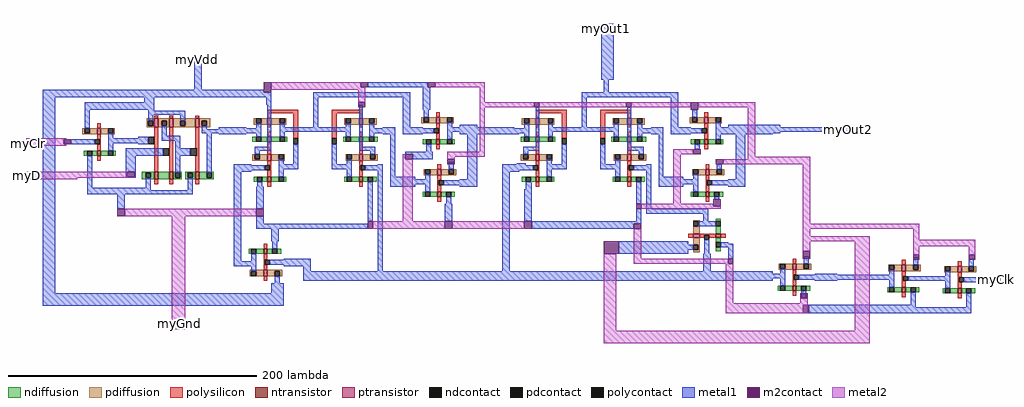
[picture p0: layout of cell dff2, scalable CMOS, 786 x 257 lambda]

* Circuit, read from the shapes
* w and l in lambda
.subckt dff2 myClk myClr myD myGnd myOut1 myOut2 myVdd
M1 n1 myClr myGnd VSUBS nfet w=4 l=3
M2 n2 n1 myGnd VSUBS nfet w=6 l=3
M3 n3 myD n2 VSUBS nfet w=6 l=3
M4 dff1_0/gate_0/myD n3 myGnd VSUBS nfet w=6 l=3
M5 myGnd dff1_0/not_0/myA dff1_0/gate_0/myC VSUBS nfet w=4 l=3
M6 n4 dff1_0/gate_0/myC myGnd VSUBS nfet w=4 l=3
M7 dff1_0/not_1/myA dff1_0/gate_0/myC dff1_0/gate_0/myD VSUBS nfet w=4 l=3
M8 myGnd dff1_0/not_0/myA n5 VSUBS nfet w=4 l=3
M9 dff1_0/gate_1/myD dff1_0/not_0/myA dff1_0/not_1/myA VSUBS nfet w=4 l=3
M10 dff1_0/not_2/myA dff1_0/not_1/myA myGnd VSUBS nfet w=4 l=3
M11 myGnd dff1_0/not_2/myA dff1_0/gate_1/myD VSUBS nfet w=4 l=3
M12 n6 dff1_0/not_0/myA myGnd VSUBS nfet w=4 l=3
M13 myOut1 dff1_0/not_0/myA dff1_0/not_2/myA VSUBS nfet w=4 l=3
M14 myGnd dff1_0/not_4/myOut n7 VSUBS nfet w=4 l=3
M15 n8 dff1_0/not_4/myOut myOut1 VSUBS nfet w=4 l=3
M16 myOut2 myOut1 myGnd VSUBS nfet w=4 l=3
M17 myGnd myOut2 n8 VSUBS nfet w=4 l=3
M18 dff1_0/not_4/myOut dff1_0/not_0/myA myGnd VSUBS nfet w=4 l=3
M19 myGnd dff1_0/myClk dff1_0/not_0/myA VSUBS nfet w=4 l=3
M20 myGnd not_0/myA dff1_0/myClk VSUBS nfet w=4 l=3
M21 myGnd myClk not_0/myA VSUBS nfet w=4 l=3
M22 n1 myClr myVdd NWELL pfet w=5 l=3
M23 n3 n1 myVdd NWELL pfet w=7 l=3
M24 myVdd myD n3 NWELL pfet w=7 l=3
M25 dff1_0/gate_0/myD n3 myVdd NWELL pfet w=7 l=3
M26 myVdd dff1_0/not_0/myA dff1_0/gate_0/myC NWELL pfet w=5 l=3
M27 n4 dff1_0/gate_0/myC myVdd NWELL pfet w=5 l=3
M28 dff1_0/not_1/myA n4 dff1_0/gate_0/myD NWELL pfet w=5 l=3
M29 myVdd dff1_0/not_0/myA n5 NWELL pfet w=5 l=3
M30 dff1_0/gate_1/myD n5 dff1_0/not_1/myA NWELL pfet w=5 l=3
M31 dff1_0/not_2/myA dff1_0/not_1/myA myVdd NWELL pfet w=5 l=3
M32 myVdd dff1_0/not_2/myA dff1_0/gate_1/myD NWELL pfet w=5 l=3
M33 n6 dff1_0/not_0/myA myVdd NWELL pfet w=5 l=3
M34 myOut1 n6 dff1_0/not_2/myA NWELL pfet w=5 l=3
M35 myVdd dff1_0/not_4/myOut n7 NWELL pfet w=5 l=3
M36 n8 n7 myOut1 NWELL pfet w=5 l=3
M37 dff1_0/not_4/myOut dff1_0/not_0/myA myVdd NWELL pfet w=5 l=3
M38 myOut2 myOut1 myVdd NWELL pfet w=5 l=3
M39 myVdd myOut2 n8 NWELL pfet w=5 l=3
M40 myVdd dff1_0/myClk dff1_0/not_0/myA NWELL pfet w=5 l=3
M41 myVdd not_0/myA dff1_0/myClk NWELL pfet w=5 l=3
M42 myVdd myClk not_0/myA NWELL pfet w=5 l=3
.ends

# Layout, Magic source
magic
tech scmos
<< metal1 >>
rect 122 201 128 230
rect 450 217 460 257
rect 594 170 651 174
rect 639 51 678 55
rect 710 50 721 54
rect 755 49 771 53
rect 699 31 703 36
rect 617 29 703 31
rect 744 29 748 34
rect 617 24 748 29
<< metal2 >>
rect -13 164 19 165
rect -13 160 17 164
rect -13 159 19 160
rect -15 132 21 138
rect 104 11 115 105
rect 612 92 706 96
rect 701 83 706 92
rect 701 78 751 83
rect 701 71 706 78
rect 746 71 751 78
<< m2contact >>
rect 17 160 23 164
rect 701 67 706 71
rect 746 67 751 71
rect 612 24 617 31
use dff1  dff1_0
transform 1 0 530 0 1 4
box -530 -4 136 214
use not  not_0
transform -1 0 681 0 1 52
box -29 -17 7 17
use not  not_1
transform -1 0 726 0 1 51
box -29 -17 7 17
<< labels >>
rlabel metal1 768 51 768 51 7 myClk
rlabel metal2 -11 161 -11 161 3 myClr
rlabel metal1 125 228 125 228 5 myVdd
rlabel metal2 110 16 110 16 1 myGnd
rlabel metal1 454 253 454 253 5 myOut1
rlabel metal1 649 172 649 172 1 myOut2
rlabel metal2 -13 135 -13 135 3 myD
<< end >>

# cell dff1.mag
magic
tech scmos
<< polysilicon >>
rect -133 181 -108 184
rect -133 177 -130 181
rect -133 170 -130 172
rect -133 162 -130 166
rect -112 161 -108 181
rect -133 148 -130 158
rect -81 181 -56 184
rect -81 161 -77 181
rect -59 177 -56 181
rect 3 178 6 182
rect -59 170 -56 172
rect 3 169 6 173
rect -59 162 -56 166
rect 5 165 6 169
rect 3 160 6 165
rect -59 148 -56 158
rect 3 152 6 156
rect -133 139 -130 143
rect -131 135 -130 139
rect -133 130 -130 135
rect -59 139 -56 143
rect -59 135 -58 139
rect 4 136 7 140
rect -59 130 -56 135
rect 4 127 7 131
rect -133 122 -130 126
rect -59 122 -56 126
rect 4 123 5 127
rect 4 118 7 123
rect 4 110 7 114
<< ndiffusion >>
rect -145 158 -142 162
rect -138 158 -133 162
rect -130 158 -123 162
rect -119 158 -117 162
rect -72 158 -70 162
rect -66 158 -59 162
rect -56 158 -51 162
rect -47 158 -44 162
rect -8 156 -5 160
rect -1 156 3 160
rect 6 156 12 160
rect 16 156 18 160
rect -144 126 -141 130
rect -137 126 -133 130
rect -130 126 -124 130
rect -120 126 -118 130
rect -71 126 -69 130
rect -65 126 -59 130
rect -56 126 -52 130
rect -48 126 -45 130
rect -8 114 -6 118
rect -2 114 4 118
rect 7 114 11 118
rect 15 114 18 118
<< pdiffusion >>
rect -144 173 -142 177
rect -138 173 -133 177
rect -144 172 -133 173
rect -130 173 -123 177
rect -119 173 -118 177
rect -130 172 -118 173
rect -71 173 -70 177
rect -66 173 -59 177
rect -71 172 -59 173
rect -56 173 -51 177
rect -47 173 -45 177
rect -9 174 -7 178
rect -3 174 3 178
rect -9 173 3 174
rect 6 174 12 178
rect 16 174 17 178
rect 6 173 17 174
rect -56 172 -45 173
rect -145 144 -143 148
rect -139 144 -133 148
rect -145 143 -133 144
rect -130 144 -124 148
rect -120 144 -119 148
rect -130 143 -119 144
rect -70 144 -69 148
rect -65 144 -59 148
rect -70 143 -59 144
rect -56 144 -50 148
rect -46 144 -44 148
rect -56 143 -44 144
rect -7 132 -6 136
rect -2 132 4 136
rect -7 131 4 132
rect 7 132 13 136
rect 17 132 19 136
rect 7 131 19 132
<< metal1 >>
rect -80 208 -70 214
rect -530 198 -352 200
rect -268 202 -220 206
rect -530 194 -346 198
rect -530 36 -520 194
rect -448 188 -440 194
rect -350 188 -346 194
rect -312 194 -234 198
rect -312 170 -308 194
rect -240 170 -234 194
rect -224 184 -218 202
rect -78 198 -74 208
rect -96 194 -18 198
rect -194 170 -180 172
rect -388 164 -366 170
rect -318 166 -304 170
rect -256 164 -246 170
rect -240 164 -224 170
rect -194 169 -150 170
rect -142 169 -138 173
rect -194 165 -138 169
rect -194 164 -146 165
rect -513 156 -500 160
rect -376 134 -362 140
rect -470 104 -464 117
rect -376 62 -370 134
rect -358 104 -352 122
rect -358 92 -352 98
rect -268 94 -264 124
rect -358 88 -268 92
rect -346 78 -340 88
rect -376 58 -368 62
rect -336 58 -314 64
rect -320 54 -314 58
rect -260 54 -256 140
rect -250 130 -246 164
rect -238 148 -216 150
rect -232 144 -216 148
rect -250 122 -230 130
rect -188 128 -180 164
rect -142 162 -138 165
rect -133 154 -130 186
rect -123 170 -119 173
rect -96 170 -92 194
rect -70 170 -66 173
rect -123 166 -66 170
rect -123 162 -119 166
rect -70 162 -66 166
rect -143 151 -130 154
rect -143 148 -139 151
rect -148 140 -141 141
rect -194 122 -180 128
rect -160 139 -141 140
rect -124 140 -120 144
rect -112 140 -108 156
rect -160 135 -135 139
rect -124 136 -108 140
rect -81 140 -77 156
rect -59 154 -56 186
rect -51 169 -47 173
rect -24 170 -18 194
rect -7 178 -3 184
rect 12 170 16 174
rect 22 170 64 172
rect -40 169 -30 170
rect -51 165 -30 169
rect -51 162 -47 165
rect -40 164 -30 165
rect -24 169 -8 170
rect -24 165 1 169
rect 12 165 64 170
rect -24 164 -8 165
rect 12 164 58 165
rect -59 151 -46 154
rect -50 148 -46 151
rect -69 140 -65 144
rect -81 136 -65 140
rect -44 139 -40 140
rect -160 134 -146 135
rect -206 94 -200 108
rect -160 54 -154 134
rect -124 130 -120 136
rect -69 130 -65 136
rect -54 135 -40 139
rect -141 125 -137 126
rect -141 120 -136 125
rect -142 94 -136 120
rect -52 108 -48 126
rect -52 94 -48 104
rect -44 104 -40 135
rect -34 130 -30 164
rect 12 160 16 164
rect -5 152 -1 156
rect 13 136 17 140
rect -34 128 -14 130
rect -6 128 -2 132
rect 28 128 36 164
rect -34 124 -2 128
rect 22 127 36 128
rect -34 122 -14 124
rect -6 118 -2 124
rect 9 123 36 127
rect 22 122 36 123
rect 11 112 15 114
rect -44 100 6 104
rect -136 92 -48 94
rect -136 88 -54 92
rect -66 68 -10 78
rect 2 54 8 68
rect 22 64 26 76
rect -320 46 58 54
rect 92 46 110 52
rect -346 36 -336 44
rect -530 26 -336 36
<< metal2 >>
rect -346 202 -274 206
rect -214 202 -174 206
rect -346 200 -270 202
rect -276 190 -270 200
rect -178 190 -174 202
rect -178 186 -134 190
rect -130 186 -60 190
rect -56 186 -8 190
rect -178 150 -174 186
rect -2 186 44 190
rect -240 144 -238 148
rect -512 128 -502 134
rect -464 98 -358 104
rect -240 94 -232 144
rect -204 146 -174 150
rect -22 148 -6 152
rect -204 144 -198 146
rect -22 108 -16 148
rect 38 146 44 186
rect 38 144 88 146
rect 18 140 88 144
rect -48 106 10 108
rect -48 104 16 106
rect -264 88 -206 94
rect -200 88 -142 94
rect -78 6 -68 68
rect -54 64 -48 88
rect 82 82 88 140
rect 82 78 136 82
rect 82 70 88 78
rect -54 60 22 64
rect 20 28 26 60
rect 80 28 86 32
rect 20 20 86 28
rect 124 6 136 78
rect -78 -4 136 6
<< ntransistor >>
rect -133 158 -130 162
rect -59 158 -56 162
rect 3 156 6 160
rect -133 126 -130 130
rect -59 126 -56 130
rect 4 114 7 118
<< ptransistor >>
rect -133 172 -130 177
rect -59 172 -56 177
rect 3 173 6 178
rect -133 143 -130 148
rect -59 143 -56 148
rect 4 131 7 136
<< polycontact >>
rect -112 156 -108 161
rect 1 165 5 169
rect -81 156 -77 161
rect -135 135 -131 139
rect -58 135 -54 139
rect 5 123 9 127
<< ndcontact >>
rect -142 158 -138 162
rect -123 158 -119 162
rect -70 158 -66 162
rect -51 158 -47 162
rect -5 156 -1 160
rect 12 156 16 160
rect -141 126 -137 130
rect -124 126 -120 130
rect -69 126 -65 130
rect -52 126 -48 130
rect -6 114 -2 118
rect 11 114 15 118
<< pdcontact >>
rect -142 173 -138 177
rect -123 173 -119 177
rect -70 173 -66 177
rect -51 173 -47 177
rect -7 174 -3 178
rect 12 174 16 178
rect -143 144 -139 148
rect -124 144 -120 148
rect -69 144 -65 148
rect -50 144 -46 148
rect -6 132 -2 136
rect 13 132 17 136
<< m2contact >>
rect -352 198 -346 206
rect -274 202 -268 206
rect -220 202 -214 206
rect -276 186 -270 190
rect -134 186 -130 190
rect -470 98 -464 104
rect -358 98 -352 104
rect -268 88 -264 94
rect -238 144 -232 148
rect -204 140 -198 144
rect -60 186 -56 190
rect -8 184 -2 190
rect -206 88 -200 94
rect -52 104 -48 108
rect -6 148 0 152
rect 12 140 18 144
rect 10 106 16 112
rect -142 88 -136 94
rect -54 88 -48 92
rect -78 68 -66 78
rect 82 64 88 70
rect 22 60 26 64
rect 80 32 86 36
use clr  clr_0
transform 1 0 -470 0 1 120
box -36 -4 83 70
use gate  gate_0
transform 1 0 -352 0 1 124
box -16 -4 35 64
use gate  gate_1
transform -1 0 -269 0 1 124
box -16 -4 35 64
use not  not_1
transform 1 0 -199 0 1 167
box -29 -17 7 17
use not  not_2
transform -1 0 -223 0 1 125
box -29 -17 7 17
use not  not_0
transform -1 0 -363 0 -1 61
box -29 -17 7 17
use not  not_4
transform 0 -1 5 1 0 95
box -29 -17 7 17
use not  not_3
transform -1 0 63 0 1 49
box -29 -17 7 17
<< labels >>
rlabel metal1 -510 158 -510 158 3 myClr
rlabel metal2 -508 132 -508 132 3 myD
rlabel metal1 108 48 108 48 7 myClk
rlabel metal1 -382 197 -382 197 1 myVdd
rlabel metal2 -437 99 -437 99 1 myGnd
rlabel metal1 -75 211 -75 211 5 myOut1
rlabel metal1 60 166 60 166 1 myOut2
<< end >>

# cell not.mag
magic
tech scmos
<< polysilicon >>
rect -14 11 -11 15
rect -14 2 -11 6
rect -12 -2 -11 2
rect -14 -7 -11 -2
rect -14 -15 -11 -11
<< ndiffusion >>
rect -25 -11 -22 -7
rect -18 -11 -14 -7
rect -11 -11 -5 -7
rect -1 -11 1 -7
<< pdiffusion >>
rect -26 7 -24 11
rect -20 7 -14 11
rect -26 6 -14 7
rect -11 7 -5 11
rect -1 7 0 11
rect -11 6 0 7
<< metal1 >>
rect -24 11 -20 17
rect -5 3 -1 7
rect -29 -2 -16 2
rect -5 -1 7 3
rect -5 -7 -1 -1
rect -22 -17 -18 -11
<< ntransistor >>
rect -14 -11 -11 -7
<< ptransistor >>
rect -14 6 -11 11
<< polycontact >>
rect -16 -2 -12 2
<< ndcontact >>
rect -22 -11 -18 -7
rect -5 -11 -1 -7
<< pdcontact >>
rect -24 7 -20 11
rect -5 7 -1 11
<< labels >>
rlabel metal1 -22 15 -22 15 5 myVdd
rlabel metal1 -27 0 -27 0 3 myA
rlabel metal1 5 0 5 0 7 myOut
rlabel metal1 -20 -15 -20 -15 1 myGnd
<< end >>

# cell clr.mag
magic
tech scmos
<< polysilicon >>
rect 30 57 33 59
rect 42 57 45 59
rect 63 57 66 59
rect -16 49 -13 53
rect -16 40 -13 44
rect -14 36 -13 40
rect -16 31 -13 36
rect -16 23 -13 27
rect 30 14 33 50
rect 42 14 45 50
rect 63 33 66 50
rect 64 27 66 33
rect 63 14 66 27
rect 30 4 33 8
rect 42 4 45 8
rect 63 4 66 8
<< ndiffusion >>
rect -27 27 -24 31
rect -20 27 -16 31
rect -13 27 -7 31
rect -3 27 -1 31
rect 20 13 30 14
rect 20 9 23 13
rect 27 9 30 13
rect 20 8 30 9
rect 33 8 42 14
rect 45 13 52 14
rect 45 9 47 13
rect 51 9 52 13
rect 45 8 52 9
rect 55 13 63 14
rect 55 9 57 13
rect 61 9 63 13
rect 55 8 63 9
rect 66 13 78 14
rect 66 9 72 13
rect 76 9 78 13
rect 66 8 78 9
<< pdiffusion >>
rect 24 55 30 57
rect 24 51 25 55
rect 29 51 30 55
rect 24 50 30 51
rect 33 55 42 57
rect 33 51 36 55
rect 40 51 42 55
rect 33 50 42 51
rect 45 55 63 57
rect 45 51 51 55
rect 55 51 63 55
rect 45 50 63 51
rect 66 55 75 57
rect 66 51 68 55
rect 72 51 75 55
rect 66 50 75 51
rect -28 45 -26 49
rect -22 45 -16 49
rect -28 44 -16 45
rect -13 45 -7 49
rect -3 45 -2 49
rect -13 44 -2 45
<< metal1 >>
rect -26 64 30 70
rect -26 49 -22 64
rect 25 63 30 64
rect 25 60 55 63
rect 25 55 29 60
rect 51 55 55 60
rect -7 41 -3 45
rect 36 43 40 51
rect 68 48 72 51
rect 68 45 83 48
rect 17 41 25 42
rect -31 36 -18 40
rect -7 37 25 41
rect -7 31 -3 37
rect 17 36 25 37
rect 36 39 51 43
rect 47 33 51 39
rect 7 27 37 33
rect 47 27 59 33
rect -24 1 -20 27
rect 7 14 15 27
rect 7 10 8 14
rect 14 10 15 14
rect 47 13 51 27
rect 72 13 76 45
rect 7 9 15 10
rect 23 1 27 9
rect -24 -1 27 1
rect 57 -1 61 9
rect -24 -4 61 -1
<< metal2 >>
rect -36 10 8 14
rect -36 9 14 10
<< ntransistor >>
rect -16 27 -13 31
rect 30 8 33 14
rect 42 8 45 14
rect 63 8 66 14
<< ptransistor >>
rect 30 50 33 57
rect 42 50 45 57
rect 63 50 66 57
rect -16 44 -13 49
<< polycontact >>
rect -18 36 -14 40
rect 25 36 30 42
rect 37 27 42 33
rect 59 27 64 33
<< ndcontact >>
rect -24 27 -20 31
rect -7 27 -3 31
rect 23 9 27 13
rect 47 9 51 13
rect 57 9 61 13
rect 72 9 76 13
<< pdcontact >>
rect 25 51 29 55
rect 36 51 40 55
rect 51 51 55 55
rect 68 51 72 55
rect -26 45 -22 49
rect -7 45 -3 49
<< m2contact >>
rect 8 10 14 14
<< labels >>
rlabel metal1 25 67 25 67 5 myVdd
rlabel metal1 3 -2 3 -2 1 myGnd
rlabel metal1 80 46 80 46 7 myOut
rlabel metal1 -28 38 -28 38 3 myClr
rlabel metal1 21 29 21 29 1 myIn
<< end >>

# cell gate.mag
magic
tech scmos
<< polysilicon >>
rect 3 57 28 60
rect 3 53 6 57
rect 3 46 6 48
rect 3 38 6 42
rect 24 37 28 57
rect 3 24 6 34
rect 3 15 6 19
rect 5 11 6 15
rect 3 6 6 11
rect 3 -2 6 2
<< ndiffusion >>
rect -9 34 -6 38
rect -2 34 3 38
rect 6 34 13 38
rect 17 34 19 38
rect -8 2 -5 6
rect -1 2 3 6
rect 6 2 12 6
rect 16 2 18 6
<< pdiffusion >>
rect -8 49 -6 53
rect -2 49 3 53
rect -8 48 3 49
rect 6 49 13 53
rect 17 49 18 53
rect 6 48 18 49
rect -9 20 -7 24
rect -3 20 3 24
rect -9 19 3 20
rect 6 20 12 24
rect 16 20 17 24
rect 6 19 17 20
<< metal1 >>
rect -6 45 -2 49
rect -16 41 -2 45
rect -6 38 -2 41
rect 3 30 6 64
rect 13 46 17 49
rect 13 42 35 46
rect 13 38 17 42
rect -7 27 6 30
rect -7 24 -3 27
rect 12 16 16 20
rect 24 16 28 32
rect -12 11 1 15
rect 12 12 28 16
rect 12 6 16 12
rect -5 -4 -1 2
<< ntransistor >>
rect 3 34 6 38
rect 3 2 6 6
<< ptransistor >>
rect 3 48 6 53
rect 3 19 6 24
<< polycontact >>
rect 24 32 28 37
rect 1 11 5 15
<< ndcontact >>
rect -6 34 -2 38
rect 13 34 17 38
rect -5 2 -1 6
rect 12 2 16 6
<< pdcontact >>
rect -6 49 -2 53
rect 13 49 17 53
rect -7 20 -3 24
rect 12 20 16 24
<< labels >>
rlabel metal1 -3 -2 -3 -2 1 myGnd
rlabel metal1 -15 43 -15 43 3 myD
rlabel metal1 4 63 4 63 5 myVdd
rlabel metal1 33 43 33 43 7 myQ
rlabel metal1 -9 13 -9 13 1 myC
<< end >>
